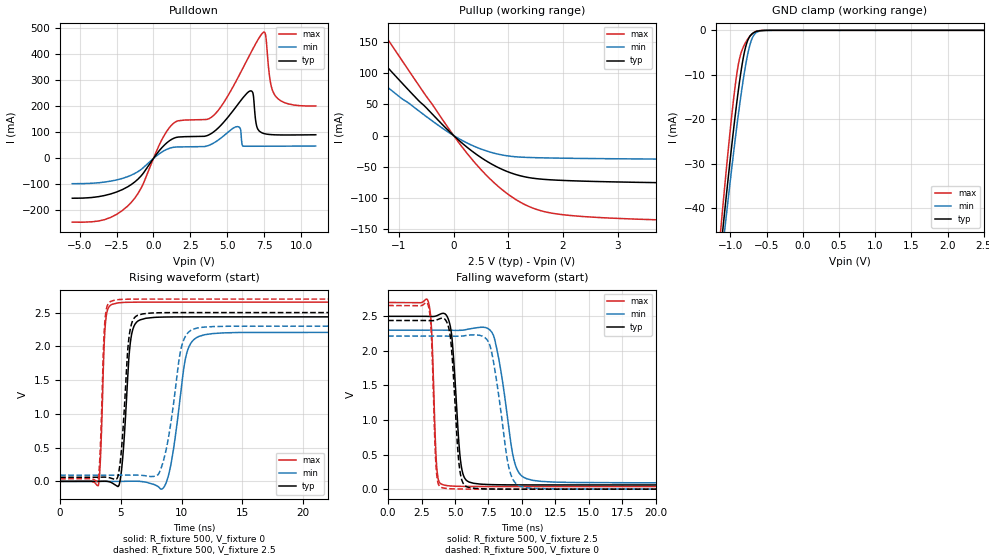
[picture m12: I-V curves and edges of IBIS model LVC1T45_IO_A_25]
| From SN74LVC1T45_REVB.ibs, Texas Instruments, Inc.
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[Model]   LVC1T45_IO_A_25
Model_type  I/O
Vinl=0.7
Vinh=1.7
Enable   Active-Low
Vref =   0
Rref =   2000
Cref =   15p
Vmeas =   1.25
| variable   typ   min   max
C_comp   7.12pF   6.25pF   8.15pF
| C_pullup   10.98pF   9.53pF   12.45pF
| C_pulldown   10.81pF   7.66pF   14.11pF
| C_tri-state   7.12pF   6.25pF   8.15pF
[Temperature Range]   40   100   -40
| Ambient temperature   25   85   -40
[Voltage range]   2.5   2.3   2.7
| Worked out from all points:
|   slope of the pulldown table from 0 to 0.375 V, typ, clamps not added: 13.2 ohm
|   slope of the pullup table from 0 to 0.375 V, typ, clamps not added: 13.6 ohm
|   GND clamp passes 1 mA (typ) near -0.71 V on its own axis
|   rising waveform, R_fixture 500, V_fixture 0: 20-80 % time 504ps typ, 960ps min, 286ps max; typ from 0 V to 2.44 V
|   falling waveform, R_fixture 500, V_fixture 2.5: 20-80 % time 493ps typ, 990ps min, 279ps max; typ from 2.5 V to 0.061 V
|   rising waveform, R_fixture 500, V_fixture 2.5: 20-80 % time 514ps typ, 1.04ns min, 289ps max; typ from 0.061 V to 2.5 V
|   falling waveform, R_fixture 500, V_fixture 0: 20-80 % time 468ps typ, 953ps min, 271ps max; typ from 2.44 V to 0 V
[GND Clamp]
| LVC1T45_IO_A_25
|   Voltage   I(typ)   I(min)   I(max)
-5.5V     -910.9mA   -836.3mA   -1.031A
-1.145V   -51.15mA   -54.65mA   -46.75mA
-1.11V    -45.51mA   -49.41mA   -40.47mA
-1.08V    -40.76mA   -44.98mA   -35.21mA
-1.065V   -38.41mA   -42.78mA   -32.63mA
-965mV    -23.43mA   -28.65mA   -16.64mA
-880mV    -12.18mA   -17.61mA   -6.789mA
-820mV    -5.939mA   -10.75mA   -3.68mA
-770mV    -2.643mA   -6.035mA   -2.191mA
-710mV    -920.7uA   -2.212mA   -923.3uA
-640mV    -245.9uA   -461.9uA   -195.8uA
2.5V      8.078pA    2.48nA     6.165pA
[Pulldown]
| LVC1T45_IO_A_25
|   Voltage   I(typ)   I(min)   I(max)
-5.5V     -153.1mA   -97.24mA   -245mA
-1.745V   -109.2mA   -70.16mA   -182.9mA
1.1V      68.14mA    38.92mA    119.4mA
4.065V    100.9mA    58.28mA    164mA
5.7V      205.5mA    121.8mA    307mA
6.545V    258.6mA    46.41mA    399.1mA
6.76V     245.7mA    46.42mA    422.2mA
7.015V    120.2mA    46.44mA    448.6mA
7.465V    95.59mA    46.5mA     484.5mA
7.93V     91.29mA    46.58mA    291.7mA
8.25V     90.27mA    46.64mA    240.6mA
11V       90.43mA    47.26mA    201.1mA
[Pullup]
| LVC1T45_IO_A_25
|   Voltage   I(typ)   I(min)   I(max)
-5.5V     488.5mA    380mA      648.9mA
-2.505V   233.8mA    173.3mA    321mA
-2.025V   188.1mA    137.6mA    260.7mA
-1.77V    163.6mA    118.6mA    228.1mA
-1.43V    130.8mA    93.6mA     184mA
-1.285V   116.8mA    83.09mA    165.1mA
-160mV    13.61mA    9.069mA    20.09mA
490mV     -34.67mA   -21.28mA   -53.66mA
1.11V     -61.84mA   -33.86mA   -101.2mA
1.715V    -70.74mA   -35.93mA   -123.3mA
3.895V    -75.85mA   -37.84mA   -135.8mA
11V       -81.86mA   -40.82mA   -147.4mA
[Ramp]
| LVC1T45_IO_A_25
| variable   typ   min   max
dV/dt_r   1.51/5.29E-10   1.39/1.02E-09   1.63/2.95E-10
dV/dt_f   1.49/5.06E-10   1.35/1.02E-09   1.63/2.88E-10
R_load = 500
[Rising Waveform]
| LVC1T45_IO_A_25
R_fixture =   500
C_fixture =   0
L_fixture =   0
V_fixture =   0
V_fixture_min = 0
V_fixture_max = 0
|   Time   V(typ)   V(min)   V(max)
0s        147.2pV    323.4pV    88.86pV
3.145ns   61.79uV    -7.514uV   -63.23mV
3.7ns     2.462mV    5.949uV    2.275V
4.3ns     -25.54mV   -38.69uV   2.624V
4.935ns   10.95mV    -56.44uV   2.647V
5.785ns   2.062V     1.909mV    2.653V
6.575ns   2.392V     375.2uV    2.654V
8.715ns   2.434V     -27.7mV    2.655V
11.41ns   2.436V     2.145V     2.655V
34.99ns   2.436V     2.208V     2.655V
[Falling Waveform]
| LVC1T45_IO_A_25
R_fixture =   500
C_fixture =   0
L_fixture =   0
V_fixture =   2.5
V_fixture_min = 2.3
V_fixture_max = 2.7
|   Time   V(typ)   V(min)   V(max)
0s        2.5V       2.3V       2.7V
3.01ns    2.499V     2.3V       2.708V
3.63ns    2.508V     2.3V       332.4mV
4.04ns    2.542V     2.3V       67.81mV
4.69ns    2.311V     2.298V     46.04mV
5.41ns    416.4mV    2.298V     40.64mV
6.07ns    101.9mV    2.317V     39.04mV
7.865ns   65.17mV    2.227V     38mV
10.33ns   61.54mV    152.7mV    37.85mV
34.99ns   61.03mV    92.13mV    37.77mV
[Rising Waveform]
| LVC1T45_IO_A_25
R_fixture =   500
C_fixture =   0
L_fixture =   0
V_fixture =   2.5
V_fixture_min = 2.3
V_fixture_max = 2.7
|   Time   V(typ)   V(min)   V(max)
0s        60.94mV    91.97mV    37.73mV
3.12ns    60.96mV    91.97mV    25.97mV
3.67ns    63.05mV    91.98mV    2.339V
4.22ns    45.42mV    91.96mV    2.67V
4.84ns    147.8mV    91.92mV    2.692V
5.67ns    2.133V     93.44mV    2.698V
6.395ns   2.461V     92.4mV     2.7V
8.345ns   2.498V     213.1mV    2.7V
10.93ns   2.5V       2.252V     2.7V
34.99ns   2.5V       2.3V       2.7V
[Falling Waveform]
| LVC1T45_IO_A_25
R_fixture =   500
C_fixture =   0
L_fixture =   0
V_fixture =   0
V_fixture_min = 0
V_fixture_max = 0
|   Time   V(typ)   V(min)   V(max)
0s        2.439V     2.214V     2.656V
2.995ns   2.438V     2.214V     2.662V
3.595ns   2.445V     2.215V     294.4mV
3.99ns    2.472V     2.214V     24.59mV
4.645ns   2.216V     2.213V     6.426mV
5.305ns   355.6mV    2.213V     2.41mV
5.905ns   32.45mV    2.225V     1.145mV
7.585ns   2.898mV    2.092V     249.4uV
9.885ns   410.3uV    41.58mV    112.5uV
34.99ns   75.23uV    139.9uV    38.24uV
